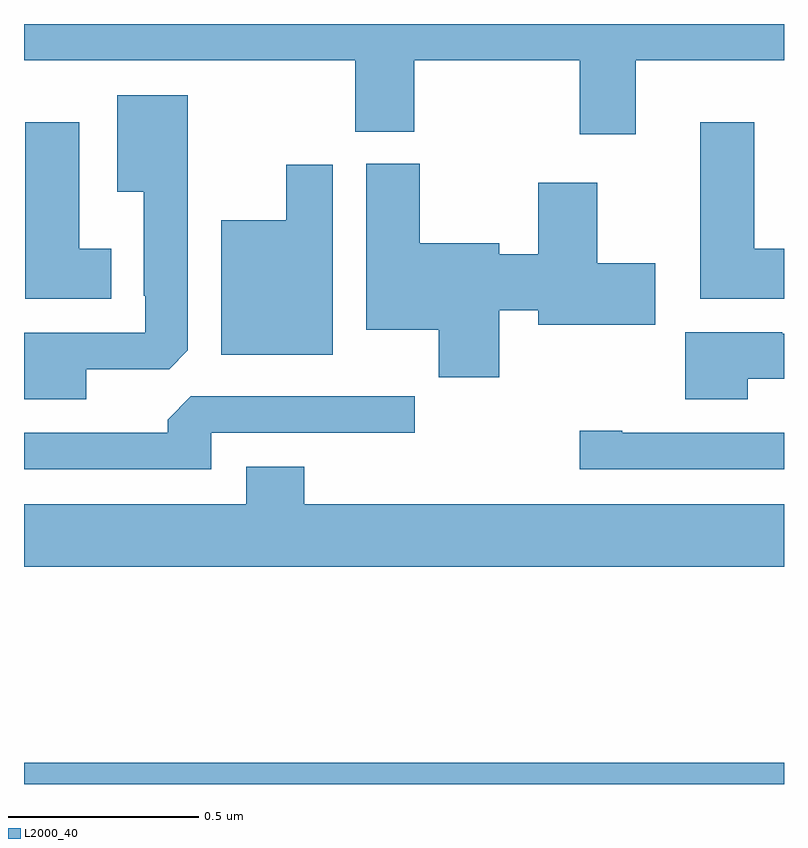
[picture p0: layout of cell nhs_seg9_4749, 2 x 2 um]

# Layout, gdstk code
import gdstk
lib = gdstk.Library(unit=1e-6, precision=1e-09)
def R(c, l, rs):  # rectangles x0, y0, x1, y1
    for r in rs: c.add(gdstk.rectangle(r[:2], r[2:], *l))
def P(c, l, *ps):  # polygons
    for p in ps: c.add(gdstk.Polygon(p, *l))
L2000_40 = (2000, 40)

nhs_seg9_4749 = lib.new_cell('nhs_seg9_4749')
R(nhs_seg9_4749, L2000_40, [(170,1210.5,172,1210.556)])
P(nhs_seg9_4749, L2000_40, [(171.61,1212.404),(172,1212.404),(172,1212.5),(170,1212.5),(170,1212.404),(170.872,1212.404),(170.872,1212.217),(171.027,1212.217),(171.027,1212.404),(171.463,1212.404),(171.463,1212.21),(171.61,1212.21)],
  [(170.164,1211.592),(170.382,1211.592),(170.431,1211.641),(170.431,1212.313),(170.246,1212.313),(170.246,1212.059),(170.315,1212.059),(170.315,1211.785),(170.319,1211.785),(170.319,1211.688),(170,1211.688),(170,1211.513),(170.164,1211.513)],
  [(172,1211.908),(171.922,1211.908),(171.922,1212.241),(171.779,1212.241),(171.779,1211.777),(172,1211.777)],
  [(170.23,1211.908),(170.146,1211.908),(170.146,1212.241),(170.003,1212.241),(170.003,1211.777),(170.23,1211.777)],
  [(171.25,1211.747),(171.353,1211.747),(171.353,1211.708),(171.661,1211.708),(171.661,1211.871),(171.508,1211.871),(171.508,1212.082),(171.353,1212.082),(171.353,1211.894),(171.25,1211.894),(171.25,1211.923),(171.042,1211.923),(171.042,1212.132),(170.9,1212.132),(170.9,1211.696),(171.092,1211.696),(171.092,1211.571),(171.25,1211.571)],
  [(170.812,1212.13),(170.69,1212.13),(170.69,1211.983),(170.519,1211.983),(170.519,1211.63),(170.812,1211.63)],
  [(171.904,1211.567),(172,1211.567),(172,1211.685),(171.995,1211.685),(171.995,1211.689),(171.74,1211.689),(171.74,1211.513),(171.904,1211.513)],
  [(170.493,1211.424),(171.028,1211.424),(171.028,1211.52),(170.439,1211.52),(170.378,1211.458),(170.378,1211.424),(170,1211.424),(170,1211.328),(170.493,1211.328)],
  [(172,1211.424),(171.574,1211.424),(171.574,1211.429),(171.462,1211.429),(171.462,1211.328),(172,1211.328)],
  [(172,1211.236),(170.738,1211.236),(170.738,1211.335),(170.585,1211.335),(170.585,1211.236),(170,1211.236),(170,1211.072),(172,1211.072)])

lib.write_gds('nhs_seg9_4749.gds')
